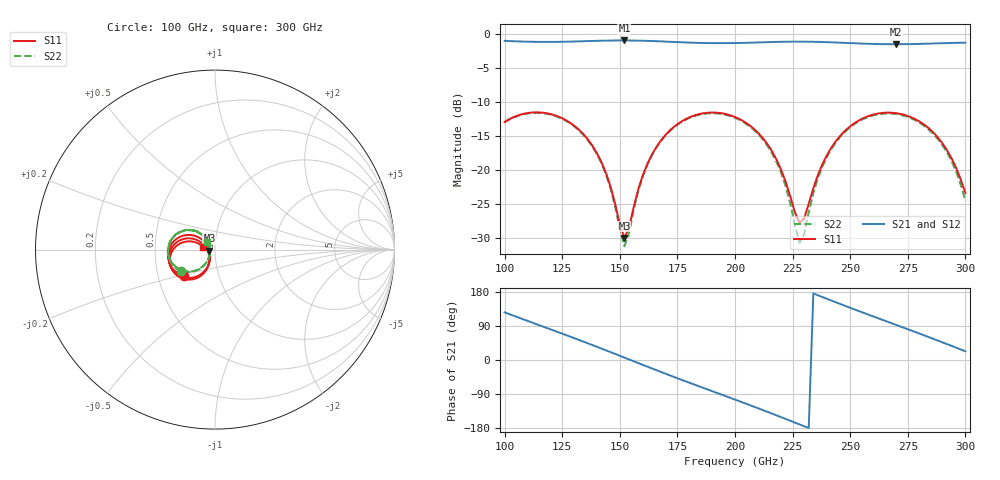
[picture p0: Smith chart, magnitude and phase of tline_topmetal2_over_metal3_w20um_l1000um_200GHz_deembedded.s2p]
! Created with skrf 2.0.1 (http://scikit-rf.org).
# GHz S DB R 50.0
!freq dBS11 angS11 dBS21 angS21 dBS12 angS12 dBS22 angS22
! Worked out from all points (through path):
!   101 points, 100 GHz to 300 GHz, reference 50 ohm
!   highest |S21| = -0.93 dB at 152 GHz (marker M1); lowest = -1.5 dB at 270 GHz (marker M2)
!   group delay of S21, straight-line fit = 6.44 ps
!   lowest |S11| = -30.0 dB at 152 GHz (marker M3), VSWR 1.07, Z = 47 - j0.589 ohm
!   |S11| at or under -10 dB: start of sweep to end of sweep
!   |S22| runs from -31.2 to -11.6 dB; largest |S21 - S12| = 1.5e-13
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100  -12.92 -139.5  -0.99 125.8  -0.99 125.8  -12.98 -147.2
116  -11.54 -171.4  -1.14 89.7  -1.14 89.7  -11.61 179.4
134  -14.66 154.4  -1.05 49.0  -1.05 49.0  -14.76 143.1
144  -20.44 142.2  -0.95 25.5  -0.95 25.5  -20.64 128.9
152  -30.01 -168.6  -0.93 6.3  -0.93 6.3  -31.21 179.6
160  -20.76 -112.9  -0.97 -12.9  -0.97 -12.9  -20.93 -123.2
168  -15.58 -121.2  -1.07 -31.8  -1.07 -31.8  -15.68 -133.3
184  -11.81 -150.4  -1.28 -68.6  -1.28 -68.6  -11.90 -164.8
200  -12.19 179.4  -1.31 -104.5  -1.31 -104.5  -12.32 162.7
216  -17.21 153.8  -1.16 -141.4  -1.16 -141.4  -17.49 133.2
222  -21.75 153.4  -1.12 -155.6  -1.12 -155.6  -22.42 129.4
228  -27.79 -166.6  -1.10 -170.0  -1.10 -170.0  -30.73 174.1
230  -27.14 -140.7  -1.11 -174.8  -1.11 -174.8  -29.47 -150.0
234  -22.69 -115.9  -1.12 175.6  -1.12 175.6  -23.41 -125.7
240  -17.74 -113.7  -1.18 161.2  -1.18 161.2  -18.00 -127.4
248  -14.15 -124.3  -1.29 142.4  -1.29 142.4  -14.30 -140.7
258  -12.05 -141.8  -1.42 119.5  -1.42 119.5  -12.18 -160.4
268  -11.57 -160.2  -1.48 97.0  -1.48 97.0  -11.70 179.4
270  -11.63 -163.9  -1.48 92.5  -1.48 92.5  -11.77 175.4
288  -15.19 165.5  -1.35 51.4  -1.35 51.4  -15.43 140.9
294  -18.28 159.6  -1.30 37.3  -1.30 37.3  -18.69 132.6
300  -23.39 167.0  -1.26 22.9  -1.26 22.9  -24.56 136.2
